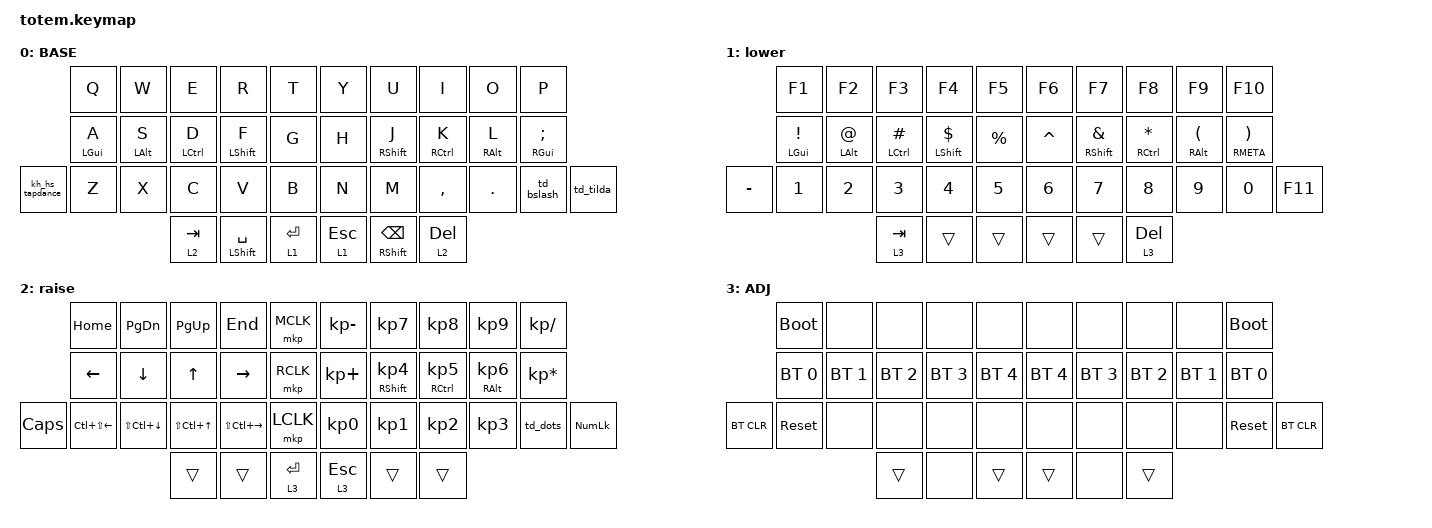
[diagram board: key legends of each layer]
//
//                                                        ▀▀▀▀▀     ▀▀▀▀▀          ▀▀█▀▀
//                                                        ▄▀▀▀▄  ▄  ▄▀▀▀▄  ▄  ▄▀▀▀▄  █  ▄▀▀▀▄
//                                                        █   █  █  █   █  █  █   █  █  █   █
//                                                         ▀▀▀   █   ▀▀▀   █   ▀▀▀   ▀   ▀▀▀
//                                                               █      ▄▄▄█▄▄▄    █   █  
//                                                               ▀      █  █  █     █▄█
//                                                             ▀▀▀▀▀    █  █  █      ▀
//                                                                      ▀  ▀  ▀
//
// ▄▄▄▄▄▄▄▄▄▄▄▄▄▄▄▄▄▄▄▄▄▄▄▄▄▄▄▄▄▄▄▄▄▄▄▄▄▄▄▄▄▄▄▄▄▄▄▄▄▄▄▄▄▄▄▄▄▄▄▄▄▄▄▄▄▄▄▄▄▄▄▄▄▄▄▄▄▄▄▄▄▄▄▄▄▄▄▄▄▄▄▄▄▄▄▄▄▄▄▄▄▄▄▄▄▄▄▄▄▄▄▄▄▄▄▄▄▄▄▄▄▄▄▄▄▄▄▄▄▄▄▄▄▄▄▄▄▄▄▄▄▄▄▄▄▄▄▄▄

#define BASE 0
#define MATH 1
#define SYMB 2
#define ADJU  3

#include <dt-bindings/zmk/mouse.h>
#include <behaviors.dtsi>
#include <dt-bindings/zmk/bt.h>
#include <dt-bindings/zmk/keys.h>
#include <dt-bindings/zmk/pointing.h>

/ {
    combos {
        compatible = "zmk,combos";

        combo_esc {
            timeout-ms = <50>;
            key-positions = <0 1>;
            bindings = <&kp ESC>;
        };

        l_br {
            bindings = <&kp LEFT_PARENTHESIS>;
            key-positions = <16 17>;
            layers = <2>;
        };

        eq {
            bindings = <&kp EQUAL>;
            key-positions = <26 27>;
            layers = <2>;
        };

        l_sq_br {
            bindings = <&kp LEFT_BRACKET>;
            key-positions = <6 7>;
            layers = <2>;
        };

        r_br {
            bindings = <&kp RIGHT_PARENTHESIS>;
            key-positions = <18 19>;
            layers = <2>;
        };

        f_for {
            bindings = <&kp F4>;
            key-positions = <9 9 19>;
            layers = <2>;
        };

        r_sq_br {
            bindings = <&kp RIGHT_BRACKET>;
            key-positions = <9 8>;
            layers = <2>;
        };

        t2 {
            bindings = <&tog 2>;
            key-positions = <32 37>;
        };

        Copy {
            bindings = <&kp LC(C)>;
            key-positions = <22 23>;
        };

        Paste {
            bindings = <&kp LC(V)>;
            key-positions = <23 24>;
        };

        l_fig_br {
            bindings = <&kp LEFT_BRACE>;
            key-positions = <27 28>;
            layers = <2>;
        };

        r_fig_br {
            bindings = <&kp RIGHT_BRACE>;
            key-positions = <30 29>;
        };
    };

    behaviors {
        kh_hs_tapdance: kh_hs_tapdance {
            compatible = "zmk,behavior-tap-dance";
            label = "KH_HS_TAPDANCE";
            #binding-cells = <0>;
            tapping-term-ms = <200>;
            bindings = <&kp LEFT_BRACKET>, <&kp RIGHT_BRACKET>;
        };

        hrm: hrm {
            compatible = "zmk,behavior-hold-tap";
            #binding-cells = <2>;
            flavor = "balanced";
            tapping-term-ms = <280>;
            quick-tap-ms = <175>;
            require-prior-idle-ms = <150>;
            bindings = <&kp>, <&kp>;

            hold-trigger-on-release;
        };

        td_dots: td_dots {
            compatible = "zmk,behavior-tap-dance";
            label = "TD_DOTS";
            #binding-cells = <0>;
            bindings = <&kp KP_DOT>, <&kp SEMICOLON>, <&kp LS(SEMICOLON)>;
        };

        td_bslash: td_bslash {
            compatible = "zmk,behavior-tap-dance";
            label = "TD_BSLASH";
            #binding-cells = <0>;
            tapping-term-ms = <200>;
            bindings = <&kp SLASH>, <&kp BACKSLASH>;
        };

        td_tilda: td_tilda {
            compatible = "zmk,behavior-tap-dance";
            label = "TD_TILDA";
            #binding-cells = <0>;
            tapping-term-ms = <200>;
            bindings = <&kp SQT>, <&kp GRAVE>;
        };
    };

    keymap {
        compatible = "zmk,keymap";

        base {
            label = "BASE";
            bindings = <
                 &kp Q            &kp W        &kp E         &kp R                 &kp T          &kp Y      &kp U                      &kp I         &kp O        &kp P
                 &hrm LEFT_GUI A  &hrm LALT S  &hrm LCTRL D  &hrm LSHFT F          &kp G          &kp H      &hrm RSHFT J               &hrm RCTRL K  &hrm RALT L  &hrm RGUI SEMICOLON
&kh_hs_tapdance  &kp Z            &kp X        &kp C         &kp V                 &kp B          &kp N      &kp M                      &kp COMMA     &kp DOT      &td_bslash           &td_tilda
                                               &lt 2 TAB     &mt LEFT_SHIFT SPACE  &lt 1 ENTER    &lt 1 ESC  &mt RIGHT_SHIFT BACKSPACE  &lt 2 DELETE
            >;
        };

        lower {
            label = "lower";
            bindings = <
           &kp F1                     &kp F2                 &kp F3                  &kp F4                  &kp F5         &kp F6     &kp F7                      &kp F8           &kp F9                           &kp F10
           &hrm LEFT_GUI EXCLAMATION  &hrm LEFT_ALT AT_SIGN  &hrm LEFT_CONTROL HASH  &hrm LEFT_SHIFT DOLLAR  &kp PERCENT    &kp CARET  &hrm RIGHT_SHIFT AMPERSAND  &hrm RCTRL STAR  &hrm RIGHT_ALT LEFT_PARENTHESIS  &hrm RMETA RIGHT_PARENTHESIS
&kp MINUS  &kp N1                     &kp N2                 &kp N3                  &kp N4                  &kp N5         &kp N6     &kp N7                      &kp N8           &kp N9                           &kp N0                        &kp F11
                                                             &lt 3 TAB               &trans                  &trans         &trans     &trans                      &lt 3 DELETE
            >;
        };

        raise {
            bindings = <
              &kp HOME          &kp PAGE_DOWN     &kp PG_UP             &kp END            &mkp MCLK      &kp KP_MINUS  &kp KP_N7               &kp KP_N8                 &kp KP_N9                   &kp KP_SLASH
              &kp LEFT          &kp DOWN          &kp UP_ARROW          &kp RIGHT          &mkp RCLK      &kp KP_PLUS   &hrm RIGHT_SHIFT KP_N4  &hrm RIGHT_CONTROL KP_N5  &hrm RIGHT_ALT KP_NUMBER_6  &kp KP_MULTIPLY
&kp CAPSLOCK  &kp LC(LS(LEFT))  &kp LS(LC(DOWN))  &kp LS(LC(UP_ARROW))  &kp LS(LC(RIGHT))  &mkp LCLK      &kp KP_N0     &kp KP_N1               &kp KP_N2                 &kp KP_N3                   &td_dots         &kp KP_NUM
                                                  &trans                &trans             &lt 3 ENTER    &lt 3 ESCAPE  &trans                  &trans
            >;
        };

        adj {
            label = "ADJ";
            bindings = <
            &bootloader   &none         &none         &none         &none           &none         &none         &none         &none         &bootloader
            &bt BT_SEL 0  &bt BT_SEL 1  &bt BT_SEL 2  &bt BT_SEL 3  &bt BT_SEL 4    &bt BT_SEL 4  &bt BT_SEL 3  &bt BT_SEL 2  &bt BT_SEL 1  &bt BT_SEL 0
&bt BT_CLR  &sys_reset    &none         &none         &none         &none           &none         &none         &none         &none         &sys_reset    &bt BT_CLR
                                        &trans        &none         &trans          &trans        &none         &trans
            >;
        };
    };
};
